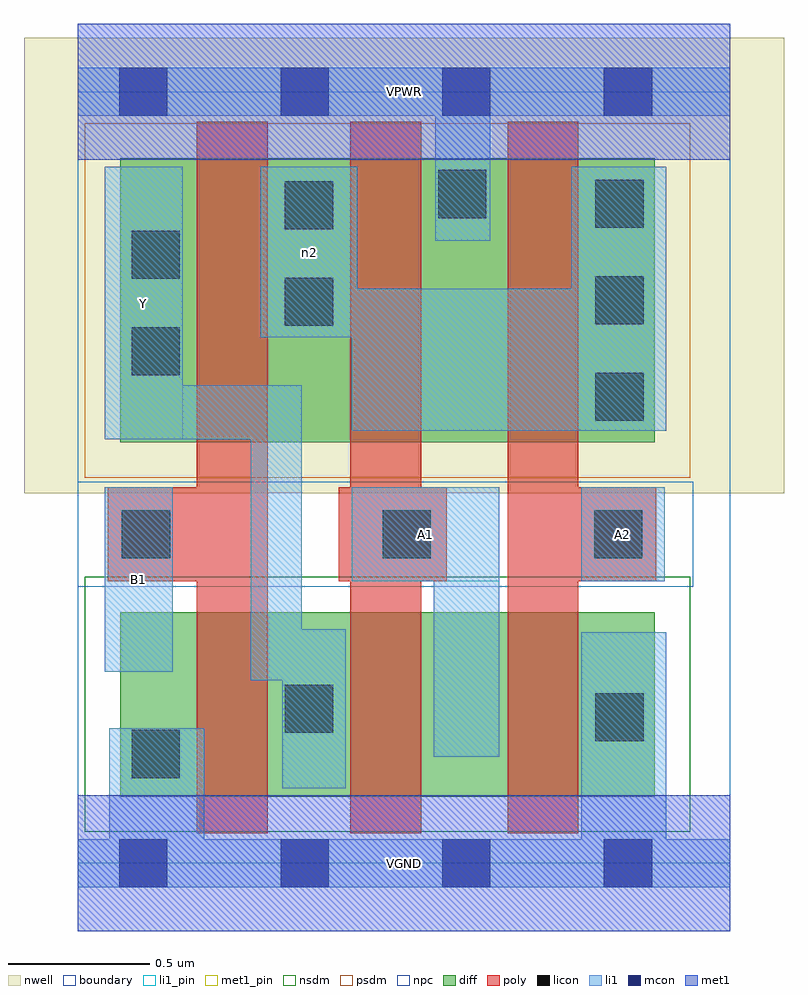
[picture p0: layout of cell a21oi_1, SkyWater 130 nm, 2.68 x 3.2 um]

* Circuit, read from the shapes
.subckt a21oi_1 A1 A2 B1 VGND VPWR Y n2
XM1 Y B1 VGND VSUBS sky130_fd_pr__nfet_01v8 w=0.65 l=0.25
XM2 n1 A1 Y VSUBS sky130_fd_pr__nfet_01v8 w=0.65 l=0.25
XM3 VGND A2 n1 VSUBS sky130_fd_pr__nfet_01v8 w=0.65 l=0.25
XM4 n2 B1 Y n3 sky130_fd_pr__pfet_01v8 w=1 l=0.25
XM5 VPWR A1 n2 n3 sky130_fd_pr__pfet_01v8 w=1 l=0.25
XM6 n2 A2 VPWR n3 sky130_fd_pr__pfet_01v8 w=1 l=0.25
.ends

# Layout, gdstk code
import gdstk
lib = gdstk.Library(unit=1e-6, precision=1e-09)
def R(c, l, rs):  # rectangles x0, y0, x1, y1
    for r in rs: c.add(gdstk.rectangle(r[:2], r[2:], *l))
def A(c, l, x, y, w, h, nx, ny, dx, dy):  # array of equal rectangles
    R(c, l, [(x+i*dx, y+j*dy, x+i*dx+w, y+j*dy+h) for i in range(nx) for j in range(ny)])
nwell = (64, 20)
diff = (65, 20)
poly = (66, 20)
licon = (66, 44)
li1_pin = (67, 16)
li1 = (67, 20)
mcon = (67, 44)
met1_pin = (68, 16)
met1 = (68, 20)
nsdm = (93, 44)
psdm = (94, 20)
npc = (95, 20)
boundary = (235, 4)

a21oi_1 = lib.new_cell('a21oi_1')
R(a21oi_1, nwell, [(-0.19,1.305,2.49,2.91), (0,1.305,2.3,2.91)])
R(a21oi_1, diff, [(0.15,0.235,2.035,0.885), (0.15,1.485,2.035,2.485)])
R(a21oi_1, poly, [(0.42,0.105,0.67,2.615), (0.96,0.105,1.21,2.615), (1.515,0.105,1.765,2.615), (0.105,0.995,0.67,1.325), (0.92,0.995,1.3,1.325), (1.515,0.995,2.04,1.325)])
A(a21oi_1, licon, 1.825, 1.56, 0.17, 0.17, 1, 3, 0, 0.34)
R(a21oi_1, licon, [(0.19,0.3,0.36,0.47), (1.825,0.43,1.995,0.6), (0.73,0.46,0.9,0.63), (0.155,1.075,0.325,1.245), (1.075,1.075,1.245,1.245), (1.82,1.075,1.99,1.245), (0.19,1.72,0.36,1.89), (0.73,1.895,0.9,2.065), (0.19,2.06,0.36,2.23), (0.73,2.235,0.9,2.405), (1.27,2.275,1.44,2.445)])
R(a21oi_1, li1_pin, [(0.095,0.675,0.335,1.325), (0.965,0.995,1.485,1.325), (1.775,0.995,2.07,1.325), (0.095,1.495,0.37,2.455)])
R(a21oi_1, li1, [(0,-0.085,2.3,0.085), (0.11,-0.085,0.445,0.475), (1.775,-0.085,2.075,0.815), (0.72,0.265,0.945,0.825), (1.255,0.375,1.485,1.325), (0.61,0.645,0.79,1.685), (0.095,0.675,0.335,1.325), (0.965,0.995,1.485,1.325), (1.775,0.995,2.07,1.325), (0.095,1.495,0.37,2.455), (0.095,1.495,0.79,1.685), (0.965,1.525,2.075,2.025), (1.74,1.525,2.075,2.455), (0.645,1.855,0.985,2.455), (1.26,2.195,1.455,2.805), (0,2.635,2.3,2.805)])
A(a21oi_1, mcon, 0.145, -0.085, 0.17, 0.17, 4, 2, 0.57, 2.72)
R(a21oi_1, met1_pin, [(0,-0.24,2.3,0.24), (0,2.48,2.3,2.96)])
R(a21oi_1, met1, [(0,-0.24,2.3,0.24), (0,2.48,2.3,2.96)])
R(a21oi_1, nsdm, [(0.025,0.11,2.16,1.01)])
R(a21oi_1, psdm, [(0.025,1.36,2.16,2.61)])
R(a21oi_1, npc, [(0,0.975,2.17,1.345)])
R(a21oi_1, boundary, [(0,0,2.3,2.72)])
a21oi_1.add(gdstk.Label('A1', (1.225,1.16), layer=67, texttype=5))
a21oi_1.add(gdstk.Label('A2', (1.922,1.16), layer=67, texttype=5))
a21oi_1.add(gdstk.Label('B1', (0.215,1), layer=67, texttype=5))
a21oi_1.add(gdstk.Label('Y', (0.232,1.975), layer=67, texttype=5))
a21oi_1.add(gdstk.Label('n2', (0.815,2.155), layer=67, texttype=5))
a21oi_1.add(gdstk.Label('VPWR', (1.15,2.72), layer=68, texttype=5))
a21oi_1.add(gdstk.Label('VGND', (1.15,0), layer=68, texttype=5))
a21oi_1.add(gdstk.Label('A1', (1.225,1.16), layer=67, texttype=16))
a21oi_1.add(gdstk.Label('A2', (1.922,1.16), layer=67, texttype=16))
a21oi_1.add(gdstk.Label('B1', (0.215,1), layer=67, texttype=16))
a21oi_1.add(gdstk.Label('Y', (0.232,1.975), layer=67, texttype=16))
a21oi_1.add(gdstk.Label('VPWR', (1.15,2.72), layer=68, texttype=16))
a21oi_1.add(gdstk.Label('VGND', (1.15,0), layer=68, texttype=16))

lib.write_gds('a21oi_1.gds')
